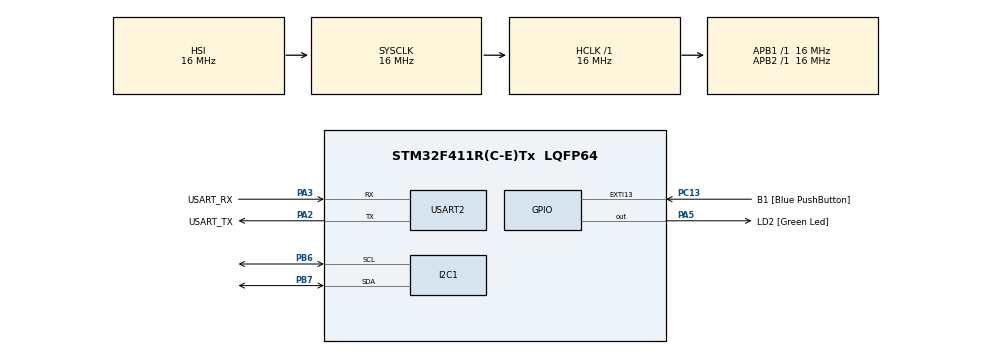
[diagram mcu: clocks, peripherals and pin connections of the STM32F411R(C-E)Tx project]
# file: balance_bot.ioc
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FREERTOS.Tasks01=MPU6050_read,24,1024,MPU6050_read_callback,Default,NULL,Dynamic,NULL,NULL
FREERTOS.configUSE_NEWLIB_REENTRANT=1
Mcu.Family=STM32F4
Mcu.Name=STM32F411R(C-E)Tx
Mcu.Package=LQFP64
NVIC.PriorityGroup=NVIC_PRIORITYGROUP_4
NVIC.TIM1_UP_TIM10_IRQn=true\:15\:0\:true\:false\:true\:false\:false\:true\:true
NVIC.TimeBase=TIM1_UP_TIM10_IRQn
NVIC.TimeBaseIP=TIM1
PA13.GPIO_Label=TMS
PA13.Signal=SYS_JTMS-SWDIO
PA14.GPIO_Label=TCK
PA14.Signal=SYS_JTCK-SWCLK
PA2.GPIO_Label=USART_TX
PA2.Mode=Asynchronous
PA2.Signal=USART2_TX
PA3.GPIO_Label=USART_RX
PA3.Mode=Asynchronous
PA3.Signal=USART2_RX
PA5.GPIO_Label=LD2 [Green Led]
PA5.Signal=GPIO_Output
PB3.GPIO_Label=SWO
PB3.Signal=SYS_JTDO-SWO
PB6.Mode=I2C
PB6.Signal=I2C1_SCL
PB7.Mode=I2C
PB7.Signal=I2C1_SDA
PC13-ANTI_TAMP.GPIO_Label=B1 [Blue PushButton]
PC13-ANTI_TAMP.GPIO_ModeDefaultEXTI=GPIO_MODE_IT_FALLING
PC13-ANTI_TAMP.Signal=GPXTI13
ProjectManager.HeapSize=0x200
ProjectManager.StackSize=0x400
ProjectManager.TargetToolchain=STM32CubeIDE
RCC.48MHZClocksFreq_Value=84000000
RCC.AHBFreq_Value=16000000
RCC.APB1Freq_Value=16000000
RCC.APB1TimFreq_Value=16000000
RCC.APB2Freq_Value=16000000
RCC.APB2TimFreq_Value=16000000
RCC.CortexFreq_Value=16000000
RCC.FLatency-AdvancedSettings=FLASH_LATENCY_0
RCC.HCLKFreq_Value=16000000
RCC.HSE_VALUE=8000000
RCC.HSI_VALUE=16000000
RCC.LSE_VALUE=32768
RCC.PLLN=336
RCC.PLLP=RCC_PLLP_DIV4
RCC.SYSCLKFreq_VALUE=16000000
RCC.VCOOutputFreq_Value=336000000
USART2.VirtualMode=VM_ASYNC
VP_FREERTOS_VS_CMSIS_V2.Mode=CMSIS_V2
VP_SYS_VS_tim1.Mode=TIM1
board=NUCLEO-F411RE

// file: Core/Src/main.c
/* USER CODE BEGIN Header */
/**
  ******************************************************************************
  * @file           : main.c
  * @brief          : Main program body
  ******************************************************************************
  * @attention
  *
  * Copyright (c) 2026 STMicroelectronics.
  * All rights reserved.
  *
  * This software is licensed under terms that can be found in the LICENSE file
  * in the root directory of this software component.
  * If no LICENSE file comes with this software, it is provided AS-IS.
  *
  ******************************************************************************
  */
/* USER CODE END Header */
#include "main.h"
#include "cmsis_os.h"

/* USER CODE BEGIN Includes */
#include "stdio.h"
#include "MPU6050.h"
#include "math.h"
/* USER CODE END Includes */

/* USER CODE BEGIN PD */
#define MPU6050_ADDR 0xD0
#define CONFIG 0x1A
/* USER CODE END PD */

I2C_HandleTypeDef hi2c1;

UART_HandleTypeDef huart2;

/* Definitions for MPU6050_read */
osThreadId_t MPU6050_readHandle;
const osThreadAttr_t MPU6050_read_attributes = {
  .name = "MPU6050_read",
  .stack_size = 1024 * 4,
  .priority = (osPriority_t) osPriorityNormal,
};
/* USER CODE BEGIN PV */
uint16_t counter = 0;
float gyro_offset = 0;
float ax_raw = 0.0f, ay_raw = 0.0f, az_raw = 0.0f;
float* Ax_val = &ax_raw;
float* Ay_val = &ay_raw;
float* Az_val = &az_raw;
float gx_raw = 0.0f, gy_raw = 0.0f, gz_raw = 0.0f;
float* Gx_val = &gx_raw;
float* Gy_val = &gy_raw;
float* Gz_val = &gz_raw;
float accAngle = 0;
float gyAngle = 0;
float pitchAngle = 0;
float prevAngle = 0;
uint16_t samp_period = 100;
float alpha = 0.75;
char tx_buff[64];
uint32_t currentTick = 0;
uint32_t targetTick = 0;
/* USER CODE END PV */

void SystemClock_Config(void);
static void MX_GPIO_Init(void);
static void MX_USART2_UART_Init(void);
static void MX_I2C1_Init(void);
void MPU6050_read_callback(void *argument);

int main(void)
{

  /* MCU Configuration--------------------------------------------------------*/

  /* Reset of all peripherals, Initializes the Flash interface and the Systick. */
  HAL_Init();

  /* Configure the system clock */
  SystemClock_Config();

  /* Initialize all configured peripherals */
  MX_GPIO_Init();
  MX_USART2_UART_Init();
  MX_I2C1_Init();
  /* USER CODE BEGIN 2 */
  MPU6050_init();
 //HAL_I2C_Mem_Write(&hi2c1, MPU6050_ADDR, CONFIG, 1, &low_pass_filt_value, 1, 1000);
  /* USER CODE END 2 */

  /* Init scheduler */
  osKernelInitialize();

  /* Create the thread(s) */
  /* creation of MPU6050_read */
  MPU6050_readHandle = osThreadNew(MPU6050_read_callback, NULL, &MPU6050_read_attributes);

  /* Start scheduler */
  osKernelStart();

  /* We should never get here as control is now taken by the scheduler */

  /* Infinite loop */
  while (1)
  {

  }
}

void SystemClock_Config(void)
{
  RCC_OscInitTypeDef RCC_OscInitStruct = {0};
  RCC_ClkInitTypeDef RCC_ClkInitStruct = {0};

  /** Configure the main internal regulator output voltage
  */
  __HAL_RCC_PWR_CLK_ENABLE();
  __HAL_PWR_VOLTAGESCALING_CONFIG(PWR_REGULATOR_VOLTAGE_SCALE1);

  /** Initializes the RCC Oscillators according to the specified parameters
  * in the RCC_OscInitTypeDef structure.
  */
  RCC_OscInitStruct.OscillatorType = RCC_OSCILLATORTYPE_HSI;
  RCC_OscInitStruct.HSIState = RCC_HSI_ON;
  RCC_OscInitStruct.HSICalibrationValue = RCC_HSICALIBRATION_DEFAULT;
  RCC_OscInitStruct.PLL.PLLState = RCC_PLL_NONE;
  if (HAL_RCC_OscConfig(&RCC_OscInitStruct) != HAL_OK)
  {
    Error_Handler();
  }

  /** Initializes the CPU, AHB and APB buses clocks
  */
  RCC_ClkInitStruct.ClockType = RCC_CLOCKTYPE_HCLK|RCC_CLOCKTYPE_SYSCLK
                              |RCC_CLOCKTYPE_PCLK1|RCC_CLOCKTYPE_PCLK2;
  RCC_ClkInitStruct.SYSCLKSource = RCC_SYSCLKSOURCE_HSI;
  RCC_ClkInitStruct.AHBCLKDivider = RCC_SYSCLK_DIV1;
  RCC_ClkInitStruct.APB1CLKDivider = RCC_HCLK_DIV1;
  RCC_ClkInitStruct.APB2CLKDivider = RCC_HCLK_DIV1;

  if (HAL_RCC_ClockConfig(&RCC_ClkInitStruct, FLASH_LATENCY_0) != HAL_OK)
  {
    Error_Handler();
  }
}

static void MX_I2C1_Init(void)
{

  hi2c1.Instance = I2C1;
  hi2c1.Init.ClockSpeed = 100000;
  hi2c1.Init.DutyCycle = I2C_DUTYCYCLE_2;
  hi2c1.Init.OwnAddress1 = 0;
  hi2c1.Init.AddressingMode = I2C_ADDRESSINGMODE_7BIT;
  hi2c1.Init.DualAddressMode = I2C_DUALADDRESS_DISABLE;
  hi2c1.Init.OwnAddress2 = 0;
  hi2c1.Init.GeneralCallMode = I2C_GENERALCALL_DISABLE;
  hi2c1.Init.NoStretchMode = I2C_NOSTRETCH_DISABLE;
  if (HAL_I2C_Init(&hi2c1) != HAL_OK)
  {
    Error_Handler();
  }

}

static void MX_USART2_UART_Init(void)
{

  huart2.Instance = USART2;
  huart2.Init.BaudRate = 115200;
  huart2.Init.WordLength = UART_WORDLENGTH_8B;
  huart2.Init.StopBits = UART_STOPBITS_1;
  huart2.Init.Parity = UART_PARITY_NONE;
  huart2.Init.Mode = UART_MODE_TX_RX;
  huart2.Init.HwFlowCtl = UART_HWCONTROL_NONE;
  huart2.Init.OverSampling = UART_OVERSAMPLING_16;
  if (HAL_UART_Init(&huart2) != HAL_OK)
  {
    Error_Handler();
  }

}

static void MX_GPIO_Init(void)
{
  GPIO_InitTypeDef GPIO_InitStruct = {0};

  /* GPIO Ports Clock Enable */
  __HAL_RCC_GPIOC_CLK_ENABLE();
  __HAL_RCC_GPIOA_CLK_ENABLE();
  __HAL_RCC_GPIOB_CLK_ENABLE();

  /*Configure GPIO pin Output Level */
  HAL_GPIO_WritePin(LD2_GPIO_Port, LD2_Pin, GPIO_PIN_RESET);

  /*Configure GPIO pin : B1_Pin */
  GPIO_InitStruct.Pin = B1_Pin;
  GPIO_InitStruct.Mode = GPIO_MODE_IT_FALLING;
  GPIO_InitStruct.Pull = GPIO_NOPULL;
  HAL_GPIO_Init(B1_GPIO_Port, &GPIO_InitStruct);

  /*Configure GPIO pin : LD2_Pin */
  GPIO_InitStruct.Pin = LD2_Pin;
  GPIO_InitStruct.Mode = GPIO_MODE_OUTPUT_PP;
  GPIO_InitStruct.Pull = GPIO_NOPULL;
  GPIO_InitStruct.Speed = GPIO_SPEED_FREQ_LOW;
  HAL_GPIO_Init(LD2_GPIO_Port, &GPIO_InitStruct);

}

void MPU6050_read_callback(void *argument)
{
  /* USER CODE BEGIN 5 */
	while(counter < 500)
	{
		MPU6050_Read_Gyro(Gx_val, Gy_val, Gz_val);
		gyro_offset = gyro_offset + *Gy_val / 500.0f;
		int len = snprintf(tx_buff, sizeof(tx_buff), "Offset: %.4f\r\n", *Gy_val);
		HAL_UART_Transmit(&huart2, (uint8_t*)tx_buff, len, 1000);
		counter++;
	}

	const uint32_t ticksPeriod = pdMS_TO_TICKS(samp_period);
	/* Infinite loop */
	for(;;)
	{
		currentTick = osKernelGetTickCount();
		targetTick = currentTick + ticksPeriod;
		MPU6050_Read_Accel(Ax_val, Ay_val, Az_val);
		MPU6050_Read_Gyro(Gx_val, Gy_val, Gz_val);

		accAngle = atan2(*Ax_val, *Az_val);// * 180 / M_PI;
		gyAngle = (*Gy_val - gyro_offset) * M_PI / 180;

		pitchAngle = (alpha * (prevAngle - gyAngle * ((float)samp_period/1000)) + (1 - alpha) * accAngle);
		prevAngle = pitchAngle;

		//int len = snprintf(tx_buff, sizeof(tx_buff), "Ax: %.4f / Ay: %.4f / Az: %.4f\r\n", *Ax_val, *Ay_val, *Az_val);
		//int len = snprintf(tx_buff, sizeof(tx_buff), "Gx: %.4f / Gy: %.4f / Gz: %.4f\r\n", *Gx_val, *Gy_val, *Gz_val);
		int len = snprintf(tx_buff, sizeof(tx_buff), "pitchAngle: %.4f\r\n", pitchAngle * 180 / M_PI);

		HAL_UART_Transmit(&huart2, (uint8_t*)tx_buff, len, 1000);
		currentTick = osKernelGetTickCount();
		osDelayUntil(targetTick);
	}
//	uint32_t currentTick = osKernelGetTickCount();
//	const uint32_t period = pdMS_TO_TICKS(1000);
//	uint32_t targetTick = currentTick + period;
//	osDelayUntil(targetTick);
  /* USER CODE END 5 */
}

void HAL_TIM_PeriodElapsedCallback(TIM_HandleTypeDef *htim)
{
  if (htim->Instance == TIM1)
  {
    HAL_IncTick();
  }
}

void Error_Handler(void)
{
  __disable_irq();
  while (1)
  {
  }
}
